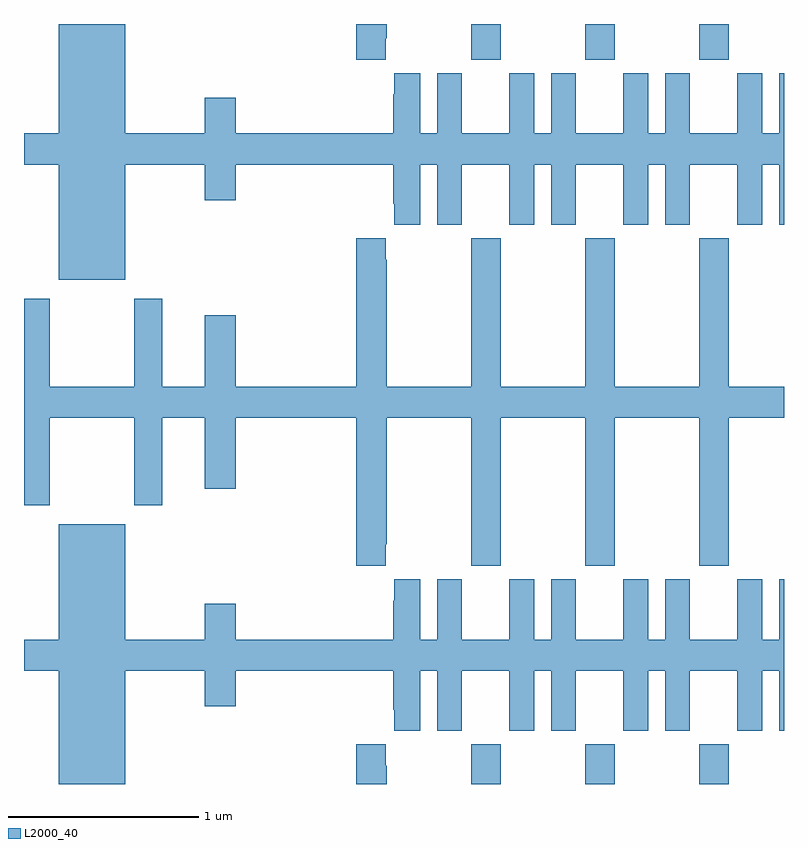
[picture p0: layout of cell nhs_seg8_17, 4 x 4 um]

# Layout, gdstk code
import gdstk
lib = gdstk.Library(unit=1e-6, precision=1e-09)
def R(c, l, rs):  # rectangles x0, y0, x1, y1
    for r in rs: c.add(gdstk.rectangle(r[:2], r[2:], *l))
def A(c, l, x, y, w, h, nx, ny, dx, dy):  # array of equal rectangles
    R(c, l, [(x+i*dx, y+j*dy, x+i*dx+w, y+j*dy+h) for i in range(nx) for j in range(ny)])
def P(c, l, *ps):  # polygons
    for p in ps: c.add(gdstk.Polygon(p, *l))
L2000_40 = (2000, 40)

nhs_seg8_17 = lib.new_cell('nhs_seg8_17')
A(nhs_seg8_17, L2000_40, 113.353, 1119.9, 0.155, 0.208, 3, 1, 0.6, 0)
A(nhs_seg8_17, L2000_40, 113.353, 1123.713, 0.155, 0.187, 3, 1, 0.6, 0)
P(nhs_seg8_17, L2000_40, [(112.903,1123.825),(112.908,1123.825),(112.908,1123.9),(112.748,1123.9),(112.748,1123.713),(112.903,1123.713)],
  [(111.532,1123.16),(111.95,1123.16),(111.95,1122.972),(112.114,1122.972),(112.114,1123.16),(112.943,1123.16),(112.943,1122.955),(112.949,1122.955),(112.949,1122.843),(113.086,1122.843),(113.086,1123.16),(113.174,1123.16),(113.174,1122.843),(113.305,1122.843),(113.305,1123.16),(113.555,1123.16),(113.555,1122.843),(113.686,1122.843),(113.686,1123.16),(113.774,1123.16),(113.774,1122.843),(113.905,1122.843),(113.905,1123.16),(114.155,1123.16),(114.155,1122.843),(114.286,1122.843),(114.286,1123.16),(114.374,1123.16),(114.374,1122.843),(114.505,1122.843),(114.505,1123.16),(114.755,1123.16),(114.755,1122.843),(114.886,1122.843),(114.886,1123.16),(114.974,1123.16),(114.974,1122.843),(115,1122.843),(115,1123.642),(114.974,1123.642),(114.974,1123.324),(114.886,1123.324),(114.886,1123.642),(114.755,1123.642),(114.755,1123.324),(114.505,1123.324),(114.505,1123.642),(114.374,1123.642),(114.374,1123.324),(114.286,1123.324),(114.286,1123.642),(114.155,1123.642),(114.155,1123.324),(113.905,1123.324),(113.905,1123.642),(113.774,1123.642),(113.774,1123.324),(113.686,1123.324),(113.686,1123.642),(113.555,1123.642),(113.555,1123.324),(113.305,1123.324),(113.305,1123.642),(113.174,1123.642),(113.174,1123.324),(113.086,1123.324),(113.086,1123.642),(112.949,1123.642),(112.949,1123.529),(112.943,1123.529),(112.943,1123.324),(112.114,1123.324),(112.114,1123.513),(111.95,1123.513),(111.95,1123.324),(111.532,1123.324),(111.532,1123.9),(111.182,1123.9),(111.182,1123.324),(111,1123.324),(111,1123.16),(111.182,1123.16),(111.182,1122.554),(111.532,1122.554)],
  [(112.903,1121.161),(112.908,1121.161),(112.908,1121.828),(113.353,1121.828),(113.353,1121.049),(113.508,1121.049),(113.508,1121.828),(113.953,1121.828),(113.953,1121.049),(114.108,1121.049),(114.108,1121.828),(114.553,1121.828),(114.553,1121.049),(114.708,1121.049),(114.708,1121.828),(115,1121.828),(115,1121.992),(114.708,1121.992),(114.708,1122.772),(114.553,1122.772),(114.553,1121.992),(114.108,1121.992),(114.108,1122.772),(113.953,1122.772),(113.953,1121.992),(113.508,1121.992),(113.508,1122.772),(113.353,1122.772),(113.353,1121.992),(112.908,1121.992),(112.908,1122.659),(112.903,1122.659),(112.903,1122.772),(112.748,1122.772),(112.748,1121.992),(112.114,1121.992),(112.114,1122.367),(111.95,1122.367),(111.95,1121.992),(111.727,1121.992),(111.727,1122.454),(111.58,1122.454),(111.58,1121.992),(111.135,1121.992),(111.135,1122.454),(111,1122.454),(111,1121.367),(111.135,1121.367),(111.135,1121.828),(111.58,1121.828),(111.58,1121.367),(111.727,1121.367),(111.727,1121.828),(111.95,1121.828),(111.95,1121.454),(112.114,1121.454),(112.114,1121.828),(112.748,1121.828),(112.748,1121.049),(112.903,1121.049)],
  [(111.532,1120.496),(111.95,1120.496),(111.95,1120.308),(112.114,1120.308),(112.114,1120.496),(112.943,1120.496),(112.943,1120.291),(112.949,1120.291),(112.949,1120.179),(113.086,1120.179),(113.086,1120.496),(113.174,1120.496),(113.174,1120.179),(113.305,1120.179),(113.305,1120.496),(113.555,1120.496),(113.555,1120.179),(113.686,1120.179),(113.686,1120.496),(113.774,1120.496),(113.774,1120.179),(113.905,1120.179),(113.905,1120.496),(114.155,1120.496),(114.155,1120.179),(114.286,1120.179),(114.286,1120.496),(114.374,1120.496),(114.374,1120.179),(114.505,1120.179),(114.505,1120.496),(114.755,1120.496),(114.755,1120.179),(114.886,1120.179),(114.886,1120.496),(114.974,1120.496),(114.974,1120.179),(115,1120.179),(115,1120.978),(114.974,1120.978),(114.974,1120.66),(114.886,1120.66),(114.886,1120.978),(114.755,1120.978),(114.755,1120.66),(114.505,1120.66),(114.505,1120.978),(114.374,1120.978),(114.374,1120.66),(114.286,1120.66),(114.286,1120.978),(114.155,1120.978),(114.155,1120.66),(113.905,1120.66),(113.905,1120.978),(113.774,1120.978),(113.774,1120.66),(113.686,1120.66),(113.686,1120.978),(113.555,1120.978),(113.555,1120.66),(113.305,1120.66),(113.305,1120.978),(113.174,1120.978),(113.174,1120.66),(113.086,1120.66),(113.086,1120.978),(112.949,1120.978),(112.949,1120.865),(112.943,1120.865),(112.943,1120.66),(112.114,1120.66),(112.114,1120.849),(111.95,1120.849),(111.95,1120.66),(111.532,1120.66),(111.532,1121.266),(111.182,1121.266),(111.182,1120.66),(111,1120.66),(111,1120.496),(111.182,1120.496),(111.182,1119.9),(111.532,1119.9)],
  [(112.908,1119.995),(112.903,1119.995),(112.903,1120.108),(112.748,1120.108),(112.748,1119.9),(112.908,1119.9)])

lib.write_gds('nhs_seg8_17.gds')
